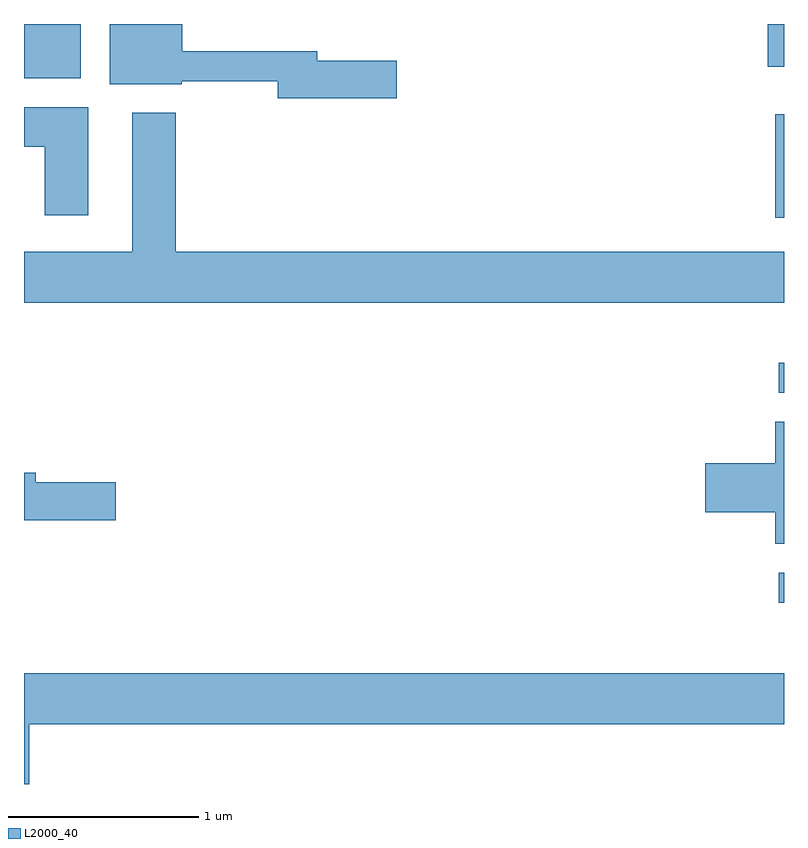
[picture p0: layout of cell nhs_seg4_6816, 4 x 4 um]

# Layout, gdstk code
import gdstk
lib = gdstk.Library(unit=1e-6, precision=1e-09)
def R(c, l, rs):  # rectangles x0, y0, x1, y1
    for r in rs: c.add(gdstk.rectangle(r[:2], r[2:], *l))
def P(c, l, *ps):  # polygons
    for p in ps: c.add(gdstk.Polygon(p, *l))
L2000_40 = (2000, 40)

nhs_seg4_6816 = lib.new_cell('nhs_seg4_6816')
R(nhs_seg4_6816, L2000_40, [(389.583,1290.936,389.611,1291.094), (389.583,1292.041,389.611,1292.199), (389.566,1292.961,389.611,1293.508), (385.611,1293.696,385.909,1293.982), (389.526,1293.756,389.611,1293.982)])
P(nhs_seg4_6816, L2000_40, [(387.574,1293.789),(387.154,1293.789),(387.154,1293.839),(386.444,1293.839),(386.444,1293.982),(386.061,1293.982),(386.061,1293.666),(386.44,1293.666),(386.44,1293.681),(386.946,1293.681),(386.946,1293.591),(387.574,1293.591)],
  [(385.949,1293.544),(385.611,1293.544),(385.611,1293.336),(385.721,1293.336),(385.721,1292.976),(385.949,1292.976)],
  [(389.611,1292.784),(386.409,1292.784),(386.409,1293.514),(386.181,1293.514),(386.181,1292.784),(385.611,1292.784),(385.611,1292.516),(389.611,1292.516)],
  [(389.611,1291.889),(389.566,1291.889),(389.566,1291.669),(389.196,1291.669),(389.196,1291.411),(389.566,1291.411),(389.566,1291.246),(389.611,1291.246)],
  [(386.094,1291.569),(385.674,1291.569),(385.674,1291.619),(385.611,1291.619),(385.611,1291.371),(386.094,1291.371)],
  [(385.639,1290.296),(389.611,1290.296),(389.611,1290.564),(385.611,1290.564),(385.611,1289.982),(385.639,1289.982)])

lib.write_gds('nhs_seg4_6816.gds')
